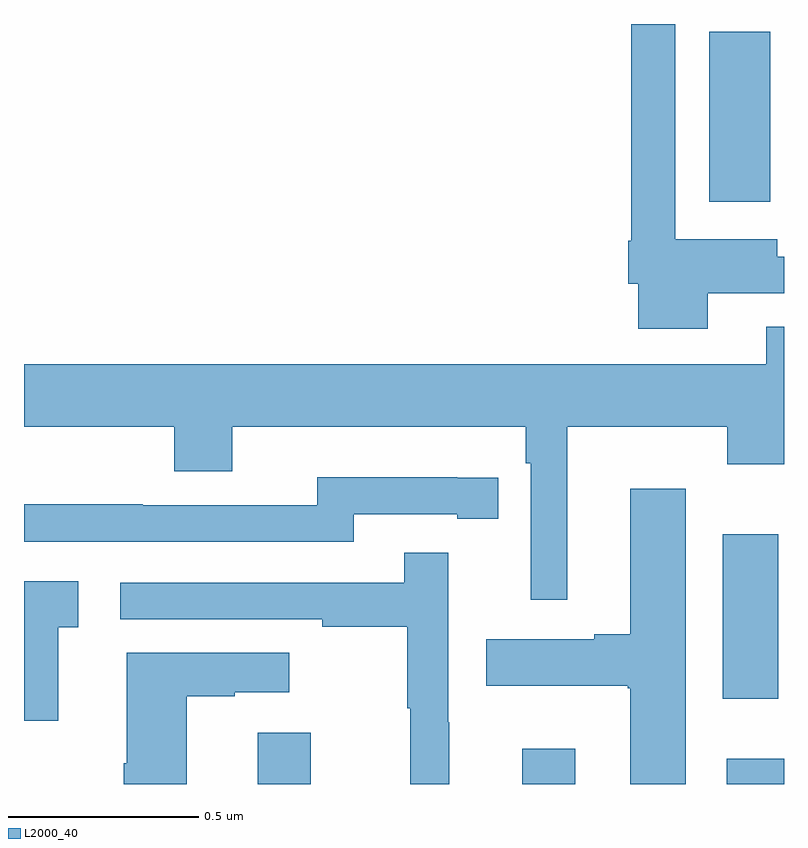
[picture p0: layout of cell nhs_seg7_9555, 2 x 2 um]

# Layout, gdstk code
import gdstk
lib = gdstk.Library(unit=1e-6, precision=1e-09)
def R(c, l, rs):  # rectangles x0, y0, x1, y1
    for r in rs: c.add(gdstk.rectangle(r[:2], r[2:], *l))
def P(c, l, *ps):  # polygons
    for p in ps: c.add(gdstk.Polygon(p, *l))
L2000_40 = (2000, 40)

nhs_seg7_9555 = lib.new_cell('nhs_seg7_9555')
R(nhs_seg7_9555, L2000_40, [(239.615,1009,239.755,1009.135), (240.311,1009,240.451,1009.093), (240.849,1009,241,1009.066), (240.839,1009.224,240.985,1009.657), (240.803,1010.532,240.964,1010.98)])
P(nhs_seg7_9555, L2000_40, [(240.799,1010.292),(241,1010.292),(241,1010.388),(240.982,1010.388),(240.982,1010.434),(240.714,1010.434),(240.714,1011),(240.598,1011),(240.598,1010.43),(240.59,1010.43),(240.59,1010.316),(240.617,1010.316),(240.617,1010.198),(240.799,1010.198)],
  [(239,1009.94),(239.396,1009.94),(239.396,1009.823),(239.548,1009.823),(239.548,1009.94),(240.32,1009.94),(240.32,1009.844),(240.333,1009.844),(240.333,1009.485),(240.43,1009.485),(240.43,1009.94),(240.85,1009.94),(240.85,1009.841),(241,1009.841),(241,1010.203),(240.953,1010.203),(240.953,1010.104),(239,1010.104)],
  [(239.868,1009.71),(240.14,1009.71),(240.14,1009.698),(240.248,1009.698),(240.248,1009.806),(240.14,1009.806),(240.14,1009.807),(239.772,1009.807),(239.772,1009.734),(239.312,1009.734),(239.312,1009.736),(239,1009.736),(239,1009.638),(239.868,1009.638)],
  [(240.742,1009.777),(240.596,1009.777),(240.596,1009.394),(240.5,1009.394),(240.5,1009.381),(240.216,1009.381),(240.216,1009.259),(240.589,1009.259),(240.589,1009.252),(240.596,1009.252),(240.596,1009),(240.742,1009)],
  [(240.119,1009.163),(240.117,1009.163),(240.117,1009.609),(240.001,1009.609),(240.001,1009.53),(239.253,1009.53),(239.253,1009.434),(239.785,1009.434),(239.785,1009.414),(240.009,1009.414),(240.009,1009.2),(240.016,1009.2),(240.016,1009),(240.119,1009)],
  [(239.09,1009.413),(239.143,1009.413),(239.143,1009.534),(239,1009.534),(239,1009.167),(239.09,1009.167)],
  [(239.428,1009.231),(239.555,1009.231),(239.555,1009.241),(239.698,1009.241),(239.698,1009.345),(239.27,1009.345),(239.27,1009.054),(239.263,1009.054),(239.263,1009),(239.428,1009)])

lib.write_gds('nhs_seg7_9555.gds')
